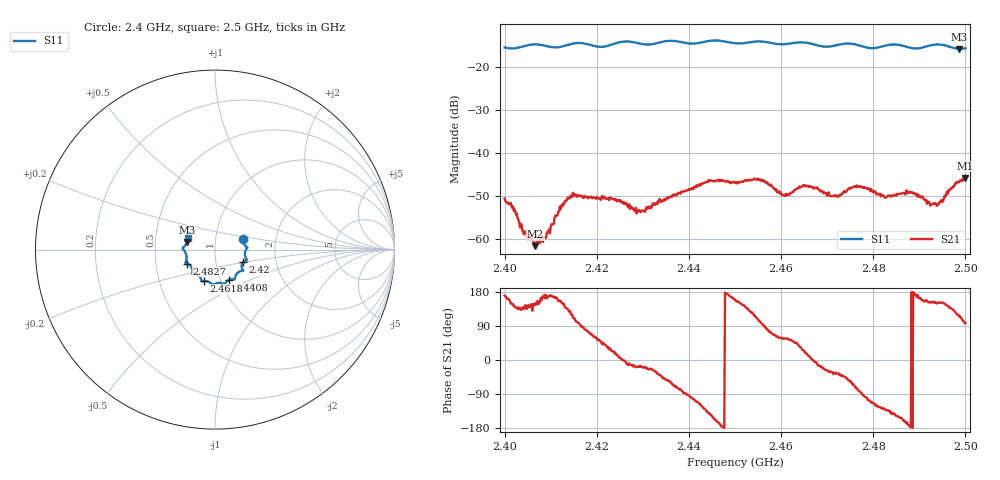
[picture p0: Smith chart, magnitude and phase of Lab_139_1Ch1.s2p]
# Hz S RI R 50
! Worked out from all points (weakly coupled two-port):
!   601 points, 2.4 GHz to 2.5 GHz, reference 50 ohm
!   highest |S21| = -45.84 dB at 2.5 GHz (marker M1); lowest = -61.7 dB at 2.4067 GHz (marker M2)
!   lowest |S11| = -15.9 dB at 2.4987 GHz (marker M3), VSWR 1.38, Z = 36.5 + j3.22 ohm
!   |S11| at or under -10 dB: start of sweep to end of sweep
!   S12 and S22 are empty: the file has one direction only
!   S11 on the Smith chart (normalised r, x): 2.4 GHz: 1.36, +0.17; 2.42 GHz: 1.36, -0.19; 2.4408 GHz: 1.10, -0.38; 2.4618 GHz: 0.83, -0.30; 2.4827 GHz: 0.72, -0.12; 2.5 GHz: 0.73, +0.09
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2.4e9  0.1553 0.0618  -0.0029 0.000537  0 0  0 0
2.406667e9  0.1812 0.0122  -0.000708 0.000418  0 0  0 0
2.408833e9  0.1747 0.00431  -0.000968 0.000303  0 0  0 0
2.413667e9  0.1725 -0.0483  -0.00212 0.00212  0 0  0 0
2.416667e9  0.1786 -0.059  0.000128 0.00312  0 0  0 0
2.42e9  0.1568 -0.0694  0.00163 0.0026  0 0  0 0
2.429167e9  0.1429 -0.1195  0.00208 -0.000596  0 0  0 0
2.433333e9  0.112 -0.1527  0.00218 -0.0017  0 0  0 0
2.440833e9  0.0779 -0.1686  -0.000846 -0.00382  0 0  0 0
2.4445e9  0.0547 -0.1919  -0.00374 -0.00294  0 0  0 0
2.45e9  0.0272 -0.1852  -0.0042 0.00159  0 0  0 0
2.455333e9  -0.0117 -0.1962  -0.00101 0.00471  0 0  0 0
2.461833e9  -0.0611 -0.1751  0.00196 0.00265  0 0  0 0
2.466667e9  -0.0762 -0.1679  0.004 0.00011  0 0  0 0
2.472167e9  -0.1162 -0.1351  0.0025 -0.00178  0 0  0 0
2.477e9  -0.1249 -0.1244  0.000474 -0.00398  0 0  0 0
2.482667e9  -0.1579 -0.0776  -0.00198 -0.00228  0 0  0 0
2.483333e9  -0.1617 -0.0763  -0.0022 -0.00224  0 0  0 0
2.488167e9  -0.1585 -0.0469  -0.00343 -0.000356  0 0  0 0
2.493833e9  -0.1812 0.00707  -0.00208 0.00125  0 0  0 0
2.498667e9  -0.1548 0.043  -0.00191 0.00417  0 0  0 0
2.5e9  -0.1513 0.0626  -0.000576 0.00507  0 0  0 0
